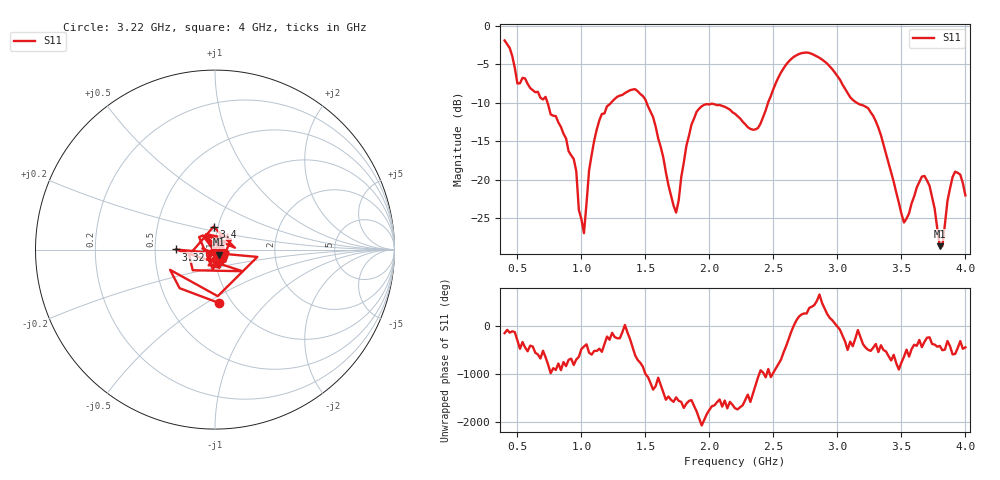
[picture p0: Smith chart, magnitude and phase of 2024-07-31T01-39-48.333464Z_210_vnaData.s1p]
!Created with skrf (http://scikit-rf.org).
# Hz S RI R 50.0
!freq ReS11 ImS11
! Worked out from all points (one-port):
!   181 points, 400 MHz to 4 GHz, reference 50 ohm
!   lowest |S11| = -28.6 dB at 3.8 GHz (marker M1), VSWR 1.08, Z = 52.2 - j3.04 ohm
!   |S11| at or under -10 dB: 735.6 MHz to 1.231 GHz (495.4 MHz wide, 50.4 % of centre); 1.51 GHz to 2.458 GHz (948.4 MHz wide, 47.8 % of centre); 3.152 GHz to end of sweep
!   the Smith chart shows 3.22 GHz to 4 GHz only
!   S11 on the Smith chart (normalised r, x): 3.22 GHz: 0.87, -0.57; 3.32 GHz: 0.64, +0.00; 3.4 GHz: 0.95, +0.25; 4 GHz: 1.01, -0.16
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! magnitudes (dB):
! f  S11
! 400 MHz  -1.9
! 500 MHz  -7.5
! 720 MHz  -9.2
! 860 MHz  -14.0
! 960 MHz  -18.9
! 980 MHz  -23.9
! 1.02 GHz  -27.0
! 1.06 GHz  -18.8
! 1.12 GHz  -13.5
! 1.3 GHz  -9.1
! 1.5 GHz  -9.6
! 1.72 GHz  -23.4
! 1.76 GHz  -22.7
! 1.9 GHz  -11.2
! 2.2 GHz  -11.4
! 2.38 GHz  -13.3
! 2.66 GHz  -4.0
! 2.88 GHz  -4.4
! 3.1 GHz  -9.3
! 3.22 GHz  -10.5
! 3.32 GHz  -13.2
! 3.4 GHz  -17.8
! 3.52 GHz  -25.6
! 3.56 GHz  -24.4
! 3.68 GHz  -19.5
! 3.8 GHz  -28.6
! 3.92 GHz  -19.0
! 4 GHz  -22.0
